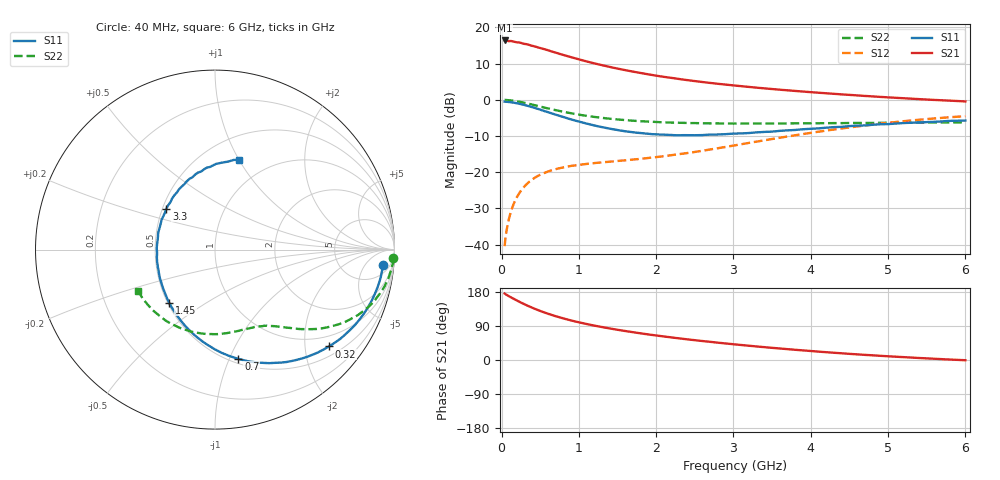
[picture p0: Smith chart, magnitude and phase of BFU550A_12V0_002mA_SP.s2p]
! Filename:  P:\Prog\Test\Noise\ATS_data\Testdata_Net\03 Spar\BFU550A_APG2013_35_C05_12p0V_002mA_SP_CM01_D.s2p
! Date/Time: Tue 16/Apr/2013 15:10:18
! BFU550A_APG2013_35_C05_12p0V_1to35mA_SP_CM01_Bias2_R.s2p
! MDIF S-parameter v. bias file
! BFU550A_APG2013_35_C05_12p0V_1to35mA_SP_CM01
! Date/time Mon Apr 15 17:55:46 2013
! VAR V_out= 12.0010
! VAR I_out= 1.9900
! VAR V_in= 0.7916
! VAR I_in= 0.0158
! Device data file deembeded for feedlines and parallel
! Original file: \03 Spar\BFU550A_APG2013_35_C05_12p0V_002mA_SP_CM01_R.s2p
! Feed-files: PR017V01_150413_Feed1.s2p, PR017V01_150413_Feed2.s2p
! Parallel-file: PR017V01_150413_Par.s2p
# MHz S MA R 50
!  Freq-MHz  S11-mag  S11-arg  S21-mag  S21-arg  S12-mag  S12-arg  S22-mag  S22-arg
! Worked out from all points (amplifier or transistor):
!   98 points, 40 MHz to 6 GHz, reference 50 ohm
!   highest |S21| = 16.4 dB at 40 MHz (marker M1)
!   |S21| within 3 dB of that: start of sweep to 641.9 MHz
!   unconditionally stable (mu >= 1): 2.056 GHz to 2.818 GHz
!   at 300 MHz: K = 0.21, MSG = 19.6 dB, |S12| = -23.9 dB
!   at 1.6 GHz: K = 0.88, MSG = 12.5 dB, |S12| = -16.7 dB
!   at 6 GHz: K = 0.86, MSG = 2.0 dB, |S12| = -4.5 dB
!   S11 on the Smith chart (normalised r, x): 40 MHz: 10, -15; 320 MHz: 0.72, -2.54; 700 MHz: 0.54, -1.08; 1.45 GHz: 0.51, -0.35; 3.3 GHz: 0.52, +0.27; 6 GHz: 0.74, +1.00
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40  0.942 -5.3  6.591 175.4  0.009506 85.6  0.9951 -2.8
90  0.9319 -11.8  6.451 169.0  0.02131 81.9  0.9864 -6.9
120  0.9234 -15.9  6.483 165.6  0.02817 79.8  0.9799 -9.2
160  0.9106 -20.9  6.35 161.3  0.03706 76.8  0.9676 -12.0
240  0.8749 -30.9  6.148 152.7  0.05325 71.3  0.9347 -17.5
320  0.8336 -40.3  5.867 144.9  0.06742 66.4  0.896 -22.4
420  0.7769 -51.3  5.488 136.0  0.08231 61.2  0.846 -27.4
500  0.7305 -59.5  5.186 129.6  0.09212 57.6  0.8067 -31.0
600  0.6741 -69.1  4.834 122.2  0.1019 54.0  0.7595 -34.8
700  0.6229 -77.9  4.48 115.6  0.1099 51.2  0.7186 -38.0
850  0.5557 -90.1  4.011 107.0  0.1192 48.2  0.6656 -41.7
1050  0.4843 -104.7  3.497 97.2  0.128 46.1  0.6104 -45.8
1250  0.4298 -118.2  3.089 88.8  0.1351 45.3  0.5713 -49.1
1450  0.3902 -130.9  2.767 81.5  0.1411 45.9  0.5409 -52.1
1750  0.3507 -148.8  2.393 71.9  0.1511 48.0  0.5097 -56.4
2050  0.3307 -165.3  2.111 63.4  0.1637 50.9  0.4901 -60.9
2500  0.3236 172.2  1.811 52.3  0.1902 55.1  0.4764 -68.3
3100  0.343 146.9  1.541 39.5  0.243 58.3  0.4692 -79.7
3300  0.3545 139.8  1.469 35.7  0.2643 58.5  0.47 -83.8
4100  0.4024 115.1  1.251 22.1  0.362 54.8  0.4738 -102.2
5200  0.4771 89.4  1.05 7.6  0.5057 42.9  0.4812 -130.1
6000  0.5163 74.7  0.948 -0.6  0.5929 32.0  0.4863 -151.8
